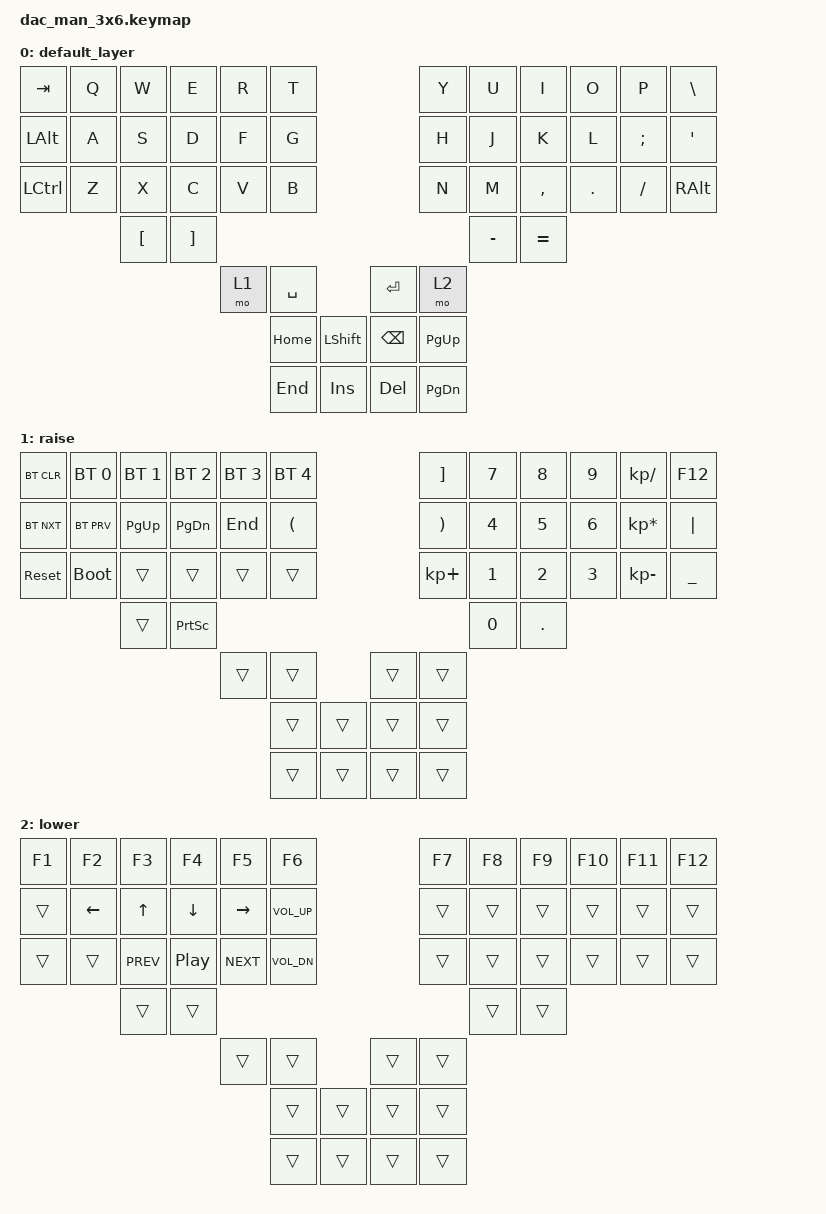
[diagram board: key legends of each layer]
#include <behaviors.dtsi>
#include <dt-bindings/zmk/bt.h>
#include <dt-bindings/zmk/keys.h>

#define DEFAULT 0
#define RAISE   1
#define LOWER   2

/ {
    keymap {
        compatible = "zmk,keymap";

        default_layer {
            bindings = <
&kp TAB    &kp Q   &kp W     &kp E              &kp R   &kp T                                 &kp Y     &kp U      &kp I      &kp O      &kp P          &kp BSLH
&kp LALT   &kp A   &kp S     &kp D              &kp F   &kp G                                 &kp H     &kp J      &kp K      &kp L      &kp SEMI       &kp SQT
&kp LCTRL  &kp Z   &kp X     &kp C              &kp V   &kp B                                 &kp N     &kp M      &kp COMMA  &kp DOT    &kp FSLH       &kp RALT
                   &kp LBKT  &kp RBKT                                                                     &kp MINUS  &kp EQUAL
                                                &mo 1   &kp SPACE                     &kp ENTER &mo 2
                                                        &kp HOME   &kp LSHIFT &kp BSPC  &kp PG_UP
                                                        &kp END    &kp INS    &kp DEL   &kp PG_DN
            >;
        };

        raise {
            bindings = <
&bt BT_CLR   &bt BT_SEL 0  &bt BT_SEL 1  &bt BT_SEL 2  &bt BT_SEL 3  &bt BT_SEL 4                  &kp RBKT     &kp 7   &kp 8   &kp 9   &kp KP_DIVIDE    &kp F12
&bt BT_NXT   &bt BT_PRV    &kp PG_UP     &kp PG_DN     &kp END       &kp LPAR                      &kp RPAR     &kp 4   &kp 5   &kp 6   &kp KP_MULTIPLY  &kp PIPE
&sys_reset   &bootloader   &trans        &trans        &trans        &trans                        &kp KP_PLUS  &kp 1   &kp 2   &kp 3   &kp KP_MINUS     &kp UNDER
                           &trans        &kp PSCRN                                                                &kp 0   &kp DOT
                                                       &trans        &trans                &trans    &trans
                                                                     &trans &trans &trans &trans
                                                                     &trans &trans &trans &trans
            >;
        };

        lower {
            bindings = <
&kp F1     &kp F2    &kp F3      &kp F4    &kp F5      &kp F6                        &kp F7      &kp F8      &kp F9   &kp F10   &kp F11     &kp F12
&trans     &kp LEFT  &kp UP      &kp DOWN  &kp RIGHT   &kp C_VOL_UP                  &trans      &trans      &trans   &trans    &trans      &trans
&trans     &trans    &kp C_PREV  &kp C_PP  &kp C_NEXT  &kp C_VOL_DN                  &trans      &trans      &trans   &trans    &trans      &trans
                     &trans      &trans                                                          &trans      &trans
                                           &trans      &trans                &trans  &trans
                                                       &trans &trans &trans &trans
                                                       &trans &trans &trans &trans
            >;
        };
    };
};
